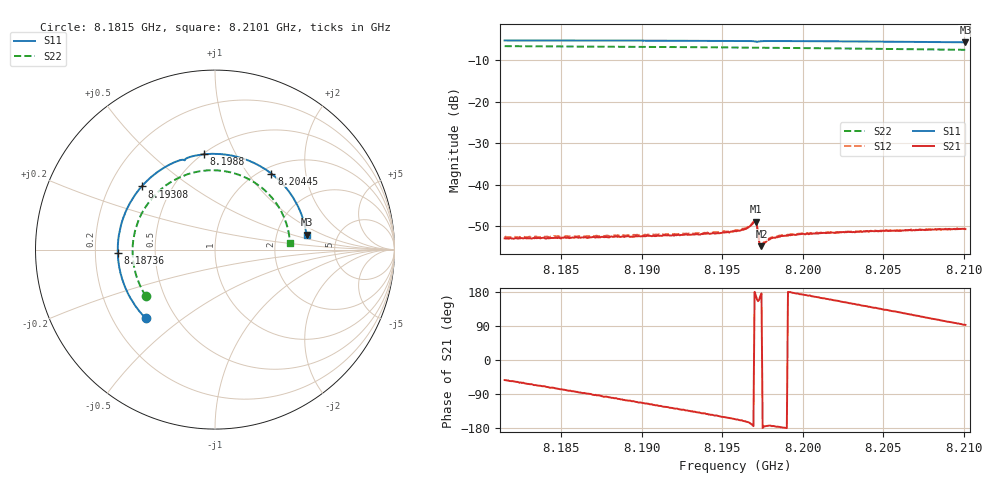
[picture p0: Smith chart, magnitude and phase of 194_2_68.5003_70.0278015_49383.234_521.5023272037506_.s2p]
#  HZ  S  RI  R  50.00
! Rohde & Schwarz Vector Network Analyzer
! Rohde-Schwarz,ZNB20-2Port,1311601062101988,3.16
! Created: UTC 3/20/2024, 4:57:14 PM
! freq[Hz]  re:S11  im:S11  re:S21  im:S21  re:S12  im:S12  re:S22  im:S22
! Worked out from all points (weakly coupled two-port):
!   401 points, 8.1815 GHz to 8.2101 GHz, reference 50 ohm
!   highest |S21| = -48.92 dB at 8.19709 GHz (marker M1); lowest = -54.8 dB at 8.19745 GHz (marker M2)
!   lowest |S11| = -5.7 dB at 8.2101 GHz (marker M3), VSWR 3.14, Z = 148 + j33.5 ohm
!   |S11| at or under -10 dB: nowhere
!   |S22| runs from -7.5 to -6.7 dB; largest |S21 - S12| = 0.00023
!   S11 on the Smith chart (normalised r, x): 8.1815 GHz: 0.34, -0.37; 8.18736 GHz: 0.30, -0.01; 8.19308 GHz: 0.34, +0.33; 8.1988 GHz: 0.51, +0.75; 8.20445 GHz: 1.11, +1.30; 8.2101 GHz: 2.97, +0.67
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8.181499e9  -0.3852 -0.3834  0.00136 -0.0018  0.00139 -0.00187  -0.385 -0.2594
8.184002e9  -0.4858 -0.2426  0.000794 -0.00212  0.000775 -0.00223  -0.4423 -0.133
8.18629e9  -0.5346 -0.0915  0.000128 -0.00232  9.36e-05 -0.00239  -0.4594 -0.00741
8.187363e9  -0.5418 -0.0168  -0.000139 -0.00233  -0.000224 -0.00239  -0.4555 0.052
8.18915e9  -0.5306 0.1074  -0.00071 -0.0023  -0.000769 -0.00235  -0.4318 0.1481
8.191081e9  -0.4866 0.235  -0.00126 -0.00207  -0.00133 -0.00216  -0.3834 0.2436
8.193083e9  -0.4088 0.3516  -0.0018 -0.00175  -0.00187 -0.00176  -0.3107 0.3278
8.1958e9  -0.2592 0.4704  -0.00253 -0.00114  -0.00261 -0.00105  -0.1831 0.4085
8.196444e9  -0.2173 0.4902  -0.00279 -0.000914  -0.00288 -0.000795  -0.1492 0.4211
8.196944e9  -0.1808 0.5005  -0.00348 -0.00033  -0.00357 -0.000163  -0.1219 0.4287
8.197087e9  -0.1708 0.4988  -0.00354 0.00056  -0.00358 0.000702  -0.1142 0.4304
8.197302e9  -0.1664 0.5025  -0.00191 0.000728  -0.0019 0.000803  -0.1027 0.433
8.197374e9  -0.1624 0.5061  -0.0018 0.000345  -0.0018 0.00044  -0.0987 0.4339
8.197445e9  -0.1575 0.5092  -0.00182 0.000142  -0.00185 0.000225  -0.0946 0.4348
8.198089e9  -0.1113 0.5233  -0.00227 -0.00022  -0.00233 -0.000118  -0.0587 0.44
8.198804e9  -0.0608 0.531  -0.00242 -7.41e-05  -0.00247 6.31e-05  -0.0183 0.442
8.200591e9  0.0657 0.5284  -0.00251 0.000533  -0.00251 0.000661  0.0825 0.4314
8.202522e9  0.1969 0.492  -0.00241 0.00123  -0.00237 0.00129  0.1861 0.3937
8.204453e9  0.3146 0.4229  -0.00204 0.00185  -0.00202 0.00196  0.2776 0.3303
8.205382e9  0.3639 0.3793  -0.0018 0.00212  -0.00176 0.00219  0.3152 0.2914
8.207813e9  0.4633 0.2388  -0.00102 0.00271  -0.000929 0.00273  0.3889 0.1693
8.210102e9  0.5099 0.0829  -0.000137 0.00292  -5.71e-05 0.00298  0.4179 0.0353
